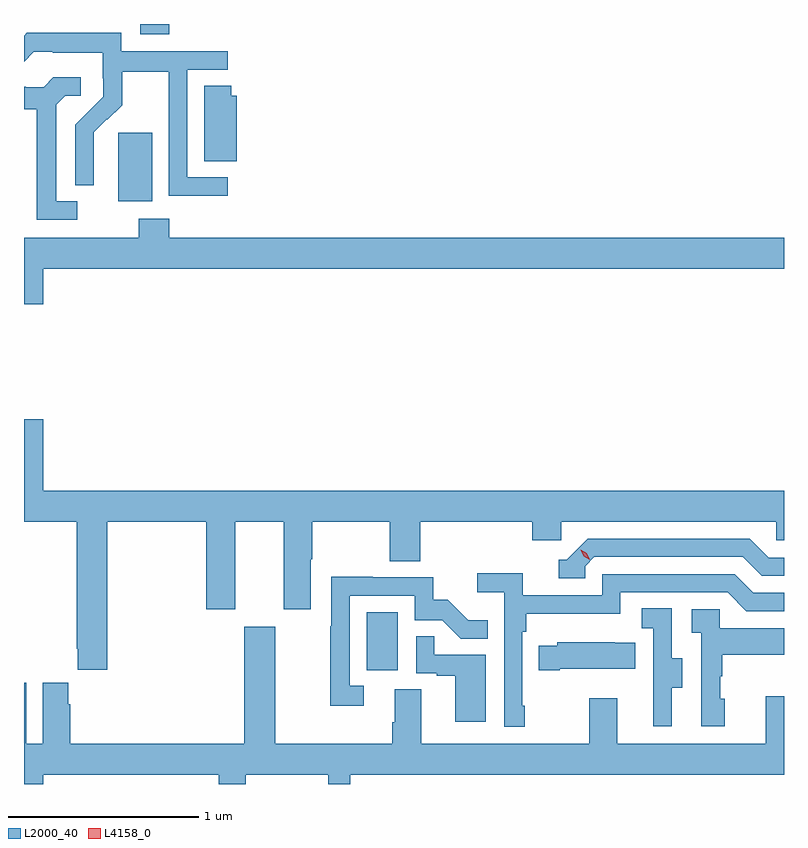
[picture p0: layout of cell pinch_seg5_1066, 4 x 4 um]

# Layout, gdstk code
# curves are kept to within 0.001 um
import gdstk
lib = gdstk.Library(unit=1e-6, precision=1e-09)
def R(c, l, rs):  # rectangles x0, y0, x1, y1
    for r in rs: c.add(gdstk.rectangle(r[:2], r[2:], *l))
def P(c, l, *ps):  # polygons
    for p in ps: c.add(gdstk.Polygon(p, *l))
L2000_40 = (2000, 40)
L4158_0 = (4158, 0)

pinch_seg5_1066 = lib.new_cell('pinch_seg5_1066')
R(pinch_seg5_1066, L2000_40, [(814.226,857.31,814.39,857.617), (812.918,859.778,813.097,860.139), (813.035,860.657,813.188,860.712)])
P(pinch_seg5_1066, L2000_40, [(813.496,859.905),(813.282,859.905),(813.282,860.472),(813.496,860.472),(813.496,860.568),(812.934,860.568),(812.934,860.665),(812.437,860.665),(812.423,860.651),(812.423,860.513),(812.475,860.565),(812.575,860.565),(812.575,860.561),(812.838,860.561),(812.838,860.427),(812.84,860.427),(812.84,860.33),(812.694,860.182),(812.694,859.864),(812.79,859.864),(812.789,860.141),(812.859,860.211),(812.862,860.208),(812.939,860.285),(812.939,860.46),(813.184,860.46),(813.184,860.236),(813.186,860.236),(813.186,859.807),(813.496,859.807)],
  [(812.704,859.779),(812.593,859.779),(812.593,860.287),(812.64,860.334),(812.722,860.334),(812.722,860.431),(812.578,860.431),(812.526,860.379),(812.432,860.379),(812.432,860.382),(812.423,860.382),(812.423,860.264),(812.489,860.264),(812.489,859.683),(812.704,859.683)],
  [(813.542,860.334),(813.515,860.334),(813.515,860.387),(813.371,860.387),(813.371,859.99),(813.542,859.99)],
  [(812.524,859.424),(816.423,859.424),(816.423,859.588),(813.188,859.588),(813.188,859.687),(813.028,859.687),(813.028,859.588),(812.423,859.588),(812.423,859.236),(812.524,859.236)],
  [(812.861,858.092),(813.383,858.092),(813.383,857.631),(813.535,857.631),(813.535,858.092),(813.791,858.092),(813.791,857.631),(813.931,857.631),(813.931,857.896),(813.939,857.896),(813.939,858.092),(814.348,858.092),(814.348,857.884),(814.508,857.884),(814.508,858.092),(815.099,858.092),(815.099,857.994),(815.25,857.994),(815.25,858.092),(816.381,858.092),(816.381,857.994),(816.423,857.994),(816.423,858.256),(812.524,858.256),(812.524,858.631),(812.423,858.631),(812.423,858.092),(812.701,858.092),(812.701,857.425),(812.707,857.425),(812.707,857.313),(812.861,857.313)],
  [(815.376,857.859),(815.424,857.907),(816.207,857.907),(816.306,857.808),(816.423,857.808),(816.423,857.904),(816.343,857.904),(816.244,858.003),(815.391,858.003),(815.28,857.892),(815.237,857.892),(815.237,857.796),(815.376,857.796)],
  [(815.059,857.125),(815.046,857.125),(815.046,857.513),(815.066,857.513),(815.066,857.609),(815.562,857.609),(815.562,857.721),(816.126,857.721),(816.225,857.622),(816.423,857.622),(816.423,857.718),(816.262,857.718),(816.163,857.817),(815.466,857.817),(815.466,857.706),(815.048,857.706),(815.048,857.822),(814.809,857.822),(814.809,857.72),(814.95,857.72),(814.95,857.013),(815.059,857.013)],
  [(814.21,857.229),(814.137,857.229),(814.137,857.703),(814.479,857.703),(814.479,857.574),(814.623,857.574),(814.721,857.476),(814.865,857.476),(814.865,857.575),(814.761,857.575),(814.654,857.682),(814.578,857.682),(814.578,857.799),(814.259,857.799),(814.259,857.804),(814.041,857.804),(814.041,857.543),(814.036,857.543),(814.036,857.124),(814.21,857.124)],
  [(815.833,857.218),(815.887,857.218),(815.887,857.373),(815.832,857.373),(815.832,857.636),(815.673,857.636),(815.673,857.533),(815.736,857.533),(815.736,857.229),(815.735,857.229),(815.735,857.016),(815.833,857.016)],
  [(816.112,857.16),(816.087,857.16),(816.087,857.279),(816.097,857.279),(816.097,857.393),(816.423,857.393),(816.423,857.533),(816.084,857.533),(816.084,857.631),(815.937,857.631),(815.937,857.507),(815.988,857.507),(815.988,857.016),(816.112,857.016)],
  [(813.449,856.712),(813.589,856.712),(813.589,856.76),(814.023,856.76),(814.023,856.712),(814.139,856.712),(814.139,856.76),(816.423,856.76),(816.423,857.173),(816.326,857.173),(816.326,856.924),(815.545,856.924),(815.545,857.164),(815.398,857.164),(815.398,856.924),(814.513,856.924),(814.513,857.21),(814.373,857.21),(814.373,857.036),(814.361,857.036),(814.361,856.924),(813.745,856.924),(813.745,857.539),(813.581,857.539),(813.581,856.924),(812.666,856.924),(812.666,857.132),(812.656,857.132),(812.656,857.245),(812.522,857.245),(812.522,856.924),(812.434,856.924),(812.434,857.245),(812.423,857.245),(812.423,856.712),(812.524,856.712),(812.524,856.76),(813.449,856.76)],
  [(814.852,857.391),(814.583,857.391),(814.583,857.489),(814.488,857.489),(814.488,857.295),(814.595,857.295),(814.595,857.283),(814.694,857.283),(814.694,857.04),(814.852,857.04)],
  [(815.242,857.318),(815.639,857.318),(815.639,857.455),(815.531,857.455),(815.531,857.458),(815.229,857.458),(815.229,857.44),(815.131,857.44),(815.131,857.311),(815.242,857.311)])
P(pinch_seg5_1066, L4158_0, [(815.4,857.893),(815.369,857.912),(815.353,857.945),(815.353,857.945),(815.353,857.945),(815.384,857.926),(815.4,857.894),(815.4,857.893)])

lib.write_gds('pinch_seg5_1066.gds')
